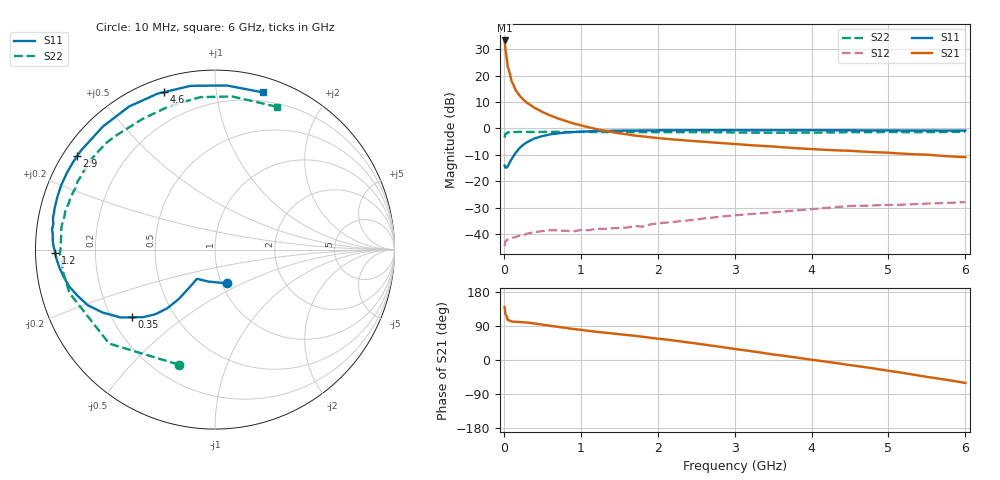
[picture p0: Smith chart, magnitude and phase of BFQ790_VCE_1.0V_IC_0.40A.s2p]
! Infineon Technologies  Discrete & RF Semiconductors
! BFQ790
! VCE =  1.0 V,  IC = 0.40 A
! Common Emitter S-Parameters:  May 2015
# GHz  S  MA  R  50
!  f  S11  S21  S12  S22
! GHz  MAG  ANG  MAG  ANG  MAG  ANG  MAG  ANG
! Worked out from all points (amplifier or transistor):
!   77 points, 10 MHz to 6 GHz, reference 50 ohm
!   highest |S21| = 33.2 dB at 10 MHz (marker M1)
!   |S21| within 3 dB of that: start of sweep to 19.2 MHz
!   unconditionally stable (mu >= 1): 38.63 MHz to end of sweep
!   at 130 MHz: K = 2.03, MAG = 22.8 dB, |S12| = -41.1 dB
!   at 2.2 GHz: K = 2.25, MAG = 9.3 dB, |S12| = -35.3 dB
!   at 6 GHz: K = 1.99, MAG = 2.8 dB, |S12| = -27.8 dB
!   S11 on the Smith chart (normalised r, x): 10 MHz: 1.06, -0.41; 350 MHz: 0.28, -0.33; 1.2 GHz: 0.06, -0.01; 2.9 GHz: 0.04, +0.31; 4.6 GHz: 0.06, +0.73; 6 GHz: 0.12, +1.34
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0.01  0.1994 -70.5  45.89 140.0  0.006 33.9  0.6718 -107.6
0.02  0.1817 -101.3  31.52 121.3  0.0074 24.6  0.7887 -138.4
0.05  0.1915 -121.7  14.77 105.6  0.008 11.4  0.8461 -163.4
0.1  0.2625 -124.3  7.842 101.6  0.0086 9.7  0.8565 -172.1
0.15  0.3402 -126.2  5.43 100.7  0.0089 12.9  0.8553 -176.5
0.2  0.4206 -129.1  4.257 100.4  0.0095 18.1  0.8644 -178.5
0.25  0.4898 -132.7  3.547 99.6  0.0095 16.6  0.8605 179.7
0.3  0.5499 -136.8  3.056 98.9  0.0103 14.1  0.86 178.2
0.35  0.5982 -140.9  2.751 97.7  0.0107 14.4  0.8598 177.1
0.4  0.6491 -144.4  2.448 96.2  0.0111 14.6  0.86 175.9
0.5  0.7182 -150.8  2.051 93.3  0.0115 11.7  0.8611 174.0
0.6  0.7737 -156.4  1.773 90.4  0.012 15.1  0.8647 172.1
0.8  0.8373 -165.7  1.391 84.8  0.0117 12.5  0.8603 168.9
1.1  0.883 -176.2  1.054 77.0  0.012 16.8  0.8592 164.4
1.2  0.8906 -178.8  0.976 74.4  0.0127 14.9  0.8554 163.0
2.1  0.9238 163.4  0.64 54.1  0.0167 20.3  0.8515 150.1
2.9  0.9279 145.9  0.521 32.2  0.0222 12.8  0.8448 133.5
3.1  0.9255 141.2  0.497 26.5  0.0236 10.2  0.8371 128.9
4.1  0.9265 118.9  0.401 -2.0  0.0308 -6.5  0.8391 105.0
4.6  0.9222 107.9  0.371 -16.2  0.0347 -16.3  0.8516 93.0
5.1  0.9178 95.9  0.341 -31.4  0.0363 -27.8  0.8556 81.5
6  0.9155 73.1  0.288 -60.6  0.0407 -49.7  0.8673 66.4
